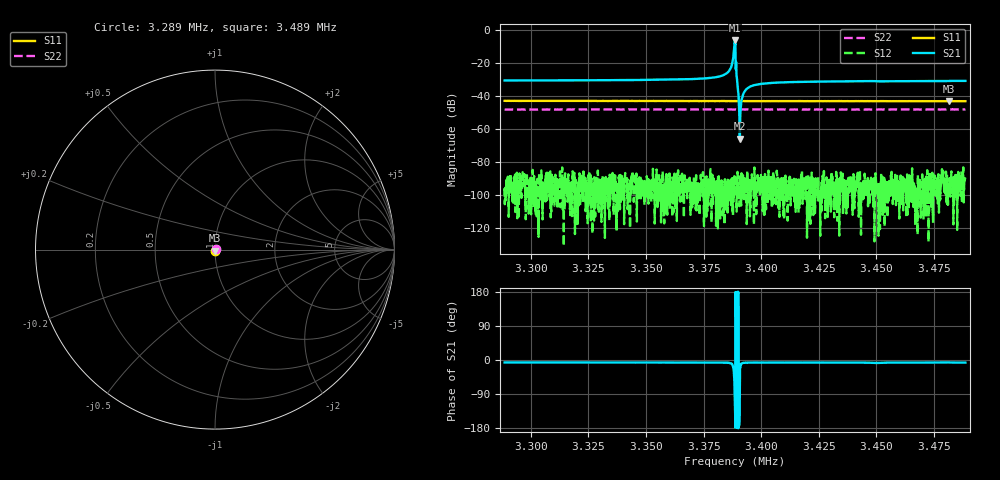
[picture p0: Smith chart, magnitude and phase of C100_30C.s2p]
# Hz S dB R 50.000
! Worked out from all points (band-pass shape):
!   6401 points, 3.289 MHz to 3.489 MHz, reference 50 ohm
!   highest |S21| = -6.49 dB at 3.389 MHz (marker M1); lowest = -65.9 dB at 3.391 MHz (marker M2)
!   |S21| within 3 dB of the highest: 3.388345 MHz to 3.388767 MHz (422 Hz wide, 0.0125 % of centre)
!   lowest |S11| = -43.2 dB at 3.482 MHz (marker M3), VSWR 1.01, Z = 49.9 - j0.68 ohm
!   |S11| at or under -10 dB: start of sweep to end of sweep
!   |S22| runs from -48.4 to -48.0 dB; largest |S21 - S12| = 0.47
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3288594  -42.94 -98.6  -30.64 -6.5  -95.62 -76.2  -48.20 19.8
3321938  -43.01 -98.5  -30.55 -6.5  -93.88 23.3  -48.21 19.5
3355282  -43.08 -98.7  -30.25 -6.7  -95.06 -41.5  -48.17 19.4
3382032  -43.05 -98.3  -28.13 -7.0  -93.48 79.7  -48.14 20.4
3385688  -43.10 -98.6  -25.39 -7.3  -97.95 19.7  -48.20 20.4
3386875  -43.13 -98.6  -22.61 -8.8  -98.92 146.4  -48.14 20.9
3387469  -43.09 -98.3  -19.71 -12.6  -94.71 39.4  -48.23 20.6
3387844  -43.07 -98.9  -16.86 -20.5  -103.87 35.6  -48.27 20.3
3388594  -43.10 -98.4  -6.49 -119.3  -93.59 17.7  -48.28 21.7
3389282  -43.13 -98.8  -27.78 -170.5  -105.65 -121.2  -48.17 20.6
3389906  -43.12 -98.7  -36.76 -179.3  -94.34 54.6  -48.16 20.7
3390219  -43.11 -98.7  -42.12 -174.2  -97.46 5.3  -48.16 20.5
3390688  -43.16 -98.3  -65.86 -81.7  -89.88 -7.1  -48.18 21.0
3391313  -43.08 -98.8  -43.78 -10.7  -93.33 -27.3  -48.20 21.1
3392094  -43.11 -98.4  -39.17 -7.9  -90.39 24.3  -48.20 20.6
3393000  -43.12 -98.3  -36.78 -7.3  -93.77 -21.2  -48.20 21.0
3396344  -43.13 -98.3  -33.75 -6.8  -93.39 26.5  -48.18 20.7
3404125  -43.14 -98.4  -32.16 -6.8  -93.14 51.2  -48.18 21.0
3421938  -43.16 -98.3  -31.41 -6.8  -89.41 84.8  -48.12 20.9
3455282  -43.15 -98.3  -31.12 -7.0  -102.51 159.7  -48.14 20.6
3481563  -43.24 -98.3  -30.92 -6.4  -94.37 58.1  -48.12 20.7
3488594  -43.20 -98.4  -30.91 -7.0  -89.52 82.2  -48.08 21.1
